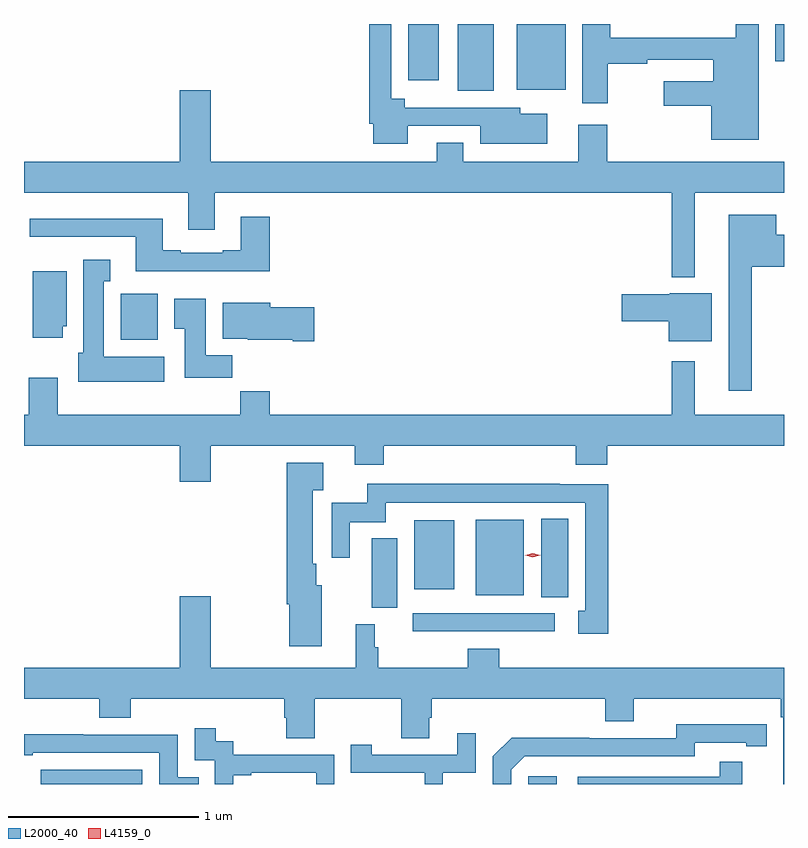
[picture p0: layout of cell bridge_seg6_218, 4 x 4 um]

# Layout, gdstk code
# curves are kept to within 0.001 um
import gdstk
lib = gdstk.Library(unit=1e-6, precision=1e-09)
def R(c, l, rs):  # rectangles x0, y0, x1, y1
    for r in rs: c.add(gdstk.rectangle(r[:2], r[2:], *l))
def P(c, l, *ps):  # polygons
    for p in ps: c.add(gdstk.Polygon(p, *l))
L2000_40 = (2000, 40)
L4159_0 = (4159, 0)

bridge_seg6_218 = lib.new_cell('bridge_seg6_218')
R(bridge_seg6_218, L2000_40, [(212.229,969.532,212.763,969.606), (214.794,969.532,214.945,969.574), (214.185,970.335,214.933,970.431), (213.971,970.459,214.105,970.825), (214.862,970.516,215.005,970.928), (214.517,970.526,214.771,970.924), (214.193,970.556,214.405,970.921), (212.648,971.87,212.845,972.112), (214.424,973.181,214.612,973.532), (214.733,973.187,214.99,973.532), (214.163,973.236,214.324,973.532), (216.095,973.337,216.14,973.532)])
P(bridge_seg6_218, L2000_40, [(214.159,972.996),(214.541,972.996),(214.541,972.902),(214.894,972.902),(214.894,973.06),(214.753,973.06),(214.753,973.092),(214.144,973.092),(214.144,973.138),(214.074,973.138),(214.074,973.532),(213.958,973.532),(213.958,973.006),(213.977,973.006),(213.977,972.902),(214.159,972.902)],
  [(216.007,973.532),(215.886,973.532),(215.886,973.46),(215.225,973.46),(215.225,973.532),(215.078,973.532),(215.078,973.116),(215.212,973.116),(215.212,973.324),(215.42,973.324),(215.42,973.344),(215.768,973.344),(215.768,973.231),(215.508,973.231),(215.508,973.102),(215.756,973.102),(215.756,972.923),(216.007,972.923)],
  [(215.671,972.644),(216.14,972.644),(216.14,972.808),(215.21,972.808),(215.21,973.003),(215.057,973.003),(215.057,972.808),(214.453,972.808),(214.453,972.907),(214.313,972.907),(214.313,972.808),(213.124,972.808),(213.124,973.183),(212.96,973.183),(212.96,972.808),(212.14,972.808),(212.14,972.644),(213.005,972.644),(213.005,972.45),(213.145,972.45),(213.145,972.644),(215.55,972.644),(215.55,972.2),(215.671,972.2)],
  [(215.971,972.254),(216.14,972.254),(216.14,972.424),(216.1,972.424),(216.1,972.529),(215.849,972.529),(215.849,971.601),(215.971,971.601)],
  [(213.434,972.517),(213.281,972.517),(213.281,972.34),(213.185,972.34),(213.185,972.327),(212.965,972.327),(212.965,972.34),(212.869,972.34),(212.869,972.508),(212.169,972.508),(212.169,972.411),(212.729,972.411),(212.729,972.23),(213.434,972.23)],
  [(212.878,971.782),(212.56,971.782),(212.56,972.179),(212.593,972.179),(212.593,972.292),(212.453,972.292),(212.453,971.802),(212.426,971.802),(212.426,971.648),(212.878,971.648)],
  [(212.344,971.94),(212.365,971.94),(212.365,972.232),(212.186,972.232),(212.186,971.88),(212.344,971.88)],
  [(215.761,972.115),(215.538,972.115),(215.538,972.11),(215.286,972.11),(215.286,971.968),(215.534,971.968),(215.534,971.861),(215.761,971.861)],
  [(213.236,971.788),(213.097,971.788),(213.097,972.085),(212.93,972.085),(212.93,971.929),(212.987,971.929),(212.987,971.67),(213.236,971.67)],
  [(213.667,972.041),(213.436,972.041),(213.436,972.064),(213.185,972.064),(213.185,971.876),(213.318,971.876),(213.318,971.87),(213.554,971.87),(213.554,971.863),(213.667,971.863)],
  [(213.124,971.312),(213.881,971.312),(213.881,971.213),(214.034,971.213),(214.034,971.312),(215.045,971.312),(215.045,971.213),(215.21,971.213),(215.21,971.312),(216.14,971.312),(216.14,971.476),(215.671,971.476),(215.671,971.758),(215.55,971.758),(215.55,971.476),(213.434,971.476),(213.434,971.6),(213.277,971.6),(213.277,971.476),(212.317,971.476),(212.317,971.671),(212.165,971.671),(212.165,971.476),(212.14,971.476),(212.14,971.312),(212.96,971.312),(212.96,971.124),(213.124,971.124)],
  [(213.706,970.578),(213.679,970.578),(213.679,970.692),(213.661,970.692),(213.661,971.079),(213.715,971.079),(213.715,971.224),(213.524,971.224),(213.524,970.478),(213.536,970.478),(213.536,970.256),(213.706,970.256)],
  [(215.215,971.109),(214.961,971.109),(214.961,971.111),(213.946,971.111),(213.946,971.012),(213.76,971.012),(213.76,970.872),(213.759,970.872),(213.759,970.722),(213.855,970.722),(213.855,970.91),(214.045,970.91),(214.045,971.013),(215.093,971.013),(215.093,970.443),(215.057,970.443),(215.057,970.323),(215.215,970.323)],
  [(216.14,970.144),(214.64,970.144),(214.64,970.243),(214.475,970.243),(214.475,970.144),(214.004,970.144),(214.004,970.253),(213.986,970.253),(213.986,970.374),(213.887,970.374),(213.887,970.144),(213.124,970.144),(213.124,970.519),(212.96,970.519),(212.96,970.144),(212.14,970.144),(212.14,969.98),(212.537,969.98),(212.537,969.881),(212.702,969.881),(212.702,969.98),(213.509,969.98),(213.509,969.882),(213.521,969.882),(213.521,969.772),(213.669,969.772),(213.669,969.98),(214.126,969.98),(214.126,969.772),(214.273,969.772),(214.273,969.882),(214.286,969.882),(214.286,969.98),(215.198,969.98),(215.198,969.863),(215.35,969.863),(215.35,969.98),(216.122,969.98),(216.122,969.884),(216.135,969.884),(216.135,969.532),(216.14,969.532)],
  [(214.704,969.606),(214.776,969.678),(215.67,969.678),(215.67,969.75),(215.942,969.75),(215.942,969.73),(216.05,969.73),(216.05,969.846),(215.574,969.847),(215.574,969.774),(215.114,969.774),(215.114,969.776),(214.706,969.776),(214.608,969.678),(214.608,969.532),(214.704,969.532)],
  [(213.242,969.579),(213.337,969.579),(213.337,969.591),(213.678,969.591),(213.678,969.532),(213.774,969.532),(213.774,969.687),(213.24,969.687),(213.24,969.756),(213.148,969.756),(213.148,969.826),(213.039,969.826),(213.039,969.657),(213.144,969.657),(213.144,969.532),(213.242,969.532)],
  [(214.344,969.591),(214.518,969.591),(214.518,969.799),(214.421,969.799),(214.421,969.687),(213.97,969.687),(213.97,969.739),(213.859,969.739),(213.859,969.591),(214.248,969.591),(214.248,969.532),(214.344,969.532)],
  [(213.059,969.567),(212.949,969.567),(212.949,969.792),(212.453,969.792),(212.453,969.794),(212.14,969.794),(212.14,969.684),(212.185,969.684),(212.185,969.696),(212.853,969.696),(212.853,969.532),(213.059,969.532)],
  [(215.921,969.649),(215.803,969.649),(215.803,969.57),(215.055,969.57),(215.055,969.532),(215.921,969.532)])
P(bridge_seg6_218, L4159_0, [(214.818,970.726),(214.778,970.736),(214.778,970.736),(214.778,970.736),(214.818,970.746),(214.858,970.736),(214.858,970.736),(214.858,970.736)])

lib.write_gds('bridge_seg6_218.gds')
